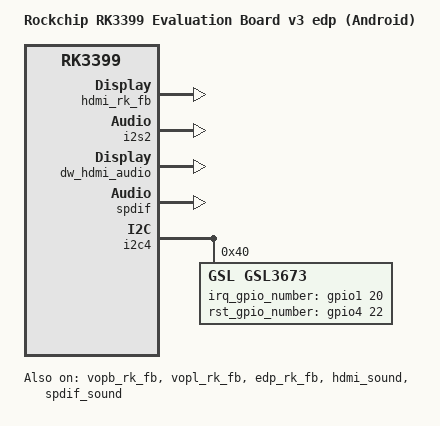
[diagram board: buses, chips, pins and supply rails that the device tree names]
/*
 * Copyright (c) 2016 Fuzhou Rockchip Electronics Co., Ltd
 *
 * This file is dual-licensed: you can use it either under the terms
 * of the GPL or the X11 license, at your option. Note that this dual
 * licensing only applies to this file, and not this project as a
 * whole.
 *
 *  a) This file is free software; you can redistribute it and/or
 *     modify it under the terms of the GNU General Public License as
 *     published by the Free Software Foundation; either version 2 of the
 *     License, or (at your option) any later version.
 *
 *     This file is distributed in the hope that it will be useful,
 *     but WITHOUT ANY WARRANTY; without even the implied warranty of
 *     MERCHANTABILITY or FITNESS FOR A PARTICULAR PURPOSE.  See the
 *     GNU General Public License for more details.
 *
 * Or, alternatively,
 *
 *  b) Permission is hereby granted, free of charge, to any person
 *     obtaining a copy of this software and associated documentation
 *     files (the "Software"), to deal in the Software without
 *     restriction, including without limitation the rights to use,
 *     copy, modify, merge, publish, distribute, sublicense, and/or
 *     sell copies of the Software, and to permit persons to whom the
 *     Software is furnished to do so, subject to the following
 *     conditions:
 *
 *     The above copyright notice and this permission notice shall be
 *     included in all copies or substantial portions of the Software.
 *
 *     THE SOFTWARE IS PROVIDED "AS IS", WITHOUT WARRANTY OF ANY KIND,
 *     EXPRESS OR IMPLIED, INCLUDING BUT NOT LIMITED TO THE WARRANTIES
 *     OF MERCHANTABILITY, FITNESS FOR A PARTICULAR PURPOSE AND
 *     NONINFRINGEMENT. IN NO EVENT SHALL THE AUTHORS OR COPYRIGHT
 *     HOLDERS BE LIABLE FOR ANY CLAIM, DAMAGES OR OTHER LIABILITY,
 *     WHETHER IN AN ACTION OF CONTRACT, TORT OR OTHERWISE, ARISING
 *     FROM, OUT OF OR IN CONNECTION WITH THE SOFTWARE OR THE USE OR
 *     OTHER DEALINGS IN THE SOFTWARE.
 */

/dts-v1/;

#include "rk3399-evb-rev3.dtsi"
#include "rk3399-android-6.0.dtsi"

/ {
	model = "Rockchip RK3399 Evaluation Board v3 edp (Android)";
	compatible = "rockchip,android", "rockchip,rk3399-evb-rev3", "rockchip,rk3399";
};

&rk_screen {
	#include <dt-bindings/display/screen-timing/lcd-F402.dtsi>
};

&vopb_rk_fb {
	status = "okay";
	power_ctr: power_ctr {
		rockchip,debug = <0>;
		lcd_en: lcd-en {
			rockchip,power_type = <GPIO>;
			gpios = <&gpio1 13 GPIO_ACTIVE_HIGH>;
			rockchip,delay = <10>;
		};

		/*lcd_cs: lcd-cs {
			rockchip,power_type = <GPIO>;
			gpios = <&gpio0 21 GPIO_ACTIVE_HIGH>;//GPIO_C5 = 21
			rockchip,delay = <10>;
		};*/

		/*lcd_rst: lcd-rst {
			rockchip,power_type = <GPIO>;
			gpios = <&gpio3 GPIO_D6 GPIO_ACTIVE_HIGH>;
			rockchip,delay = <5>;
		};*/
	};
};

&vopl_rk_fb {
	status = "okay";
};

&edp_rk_fb {
	status = "okay";
};

&hdmi_rk_fb {
	status = "okay";
	rockchip,hdmi_video_source = <DISPLAY_SOURCE_LCDC1>;
};

&i2s2 {
	status = "okay";
};

&dw_hdmi_audio {
	status = "okay";
};

&hdmi_sound {
	status = "okay";
};

&spdif {
	status = "okay";
};

&spdif_out {
	status = "okay";
};

&spdif_sound {
	status = "okay";
};

&gt9xx {
	status = "disabled";
};

&i2c4 {
	gsl3673: gsl3673@40 {
		compatible = "GSL,GSL3673";
		reg = <0x40>;
		screen_max_x = <1536>;
		screen_max_y = <2048>;
		irq_gpio_number = <&gpio1 20 IRQ_TYPE_LEVEL_LOW>;
		rst_gpio_number = <&gpio4 22 GPIO_ACTIVE_HIGH>;
	};
};
